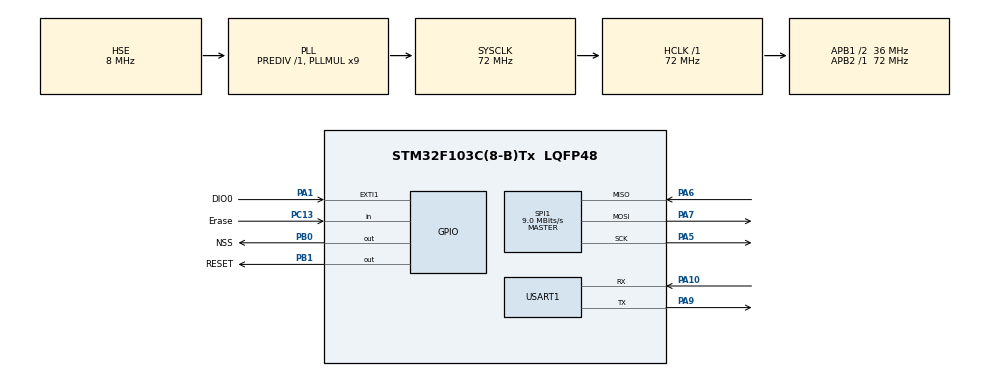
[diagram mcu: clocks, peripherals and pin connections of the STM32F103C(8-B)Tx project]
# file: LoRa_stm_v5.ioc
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Mcu.Family=STM32F1
Mcu.Name=STM32F103C(8-B)Tx
Mcu.Package=LQFP48
NVIC.PriorityGroup=NVIC_PRIORITYGROUP_4
PA1.GPIO_Label=DIO0
PA1.Signal=GPXTI1
PA10.Mode=Asynchronous
PA10.Signal=USART1_RX
PA13.Mode=Serial_Wire
PA13.Signal=SYS_JTMS-SWDIO
PA14.Mode=Serial_Wire
PA14.Signal=SYS_JTCK-SWCLK
PA5.Mode=Full_Duplex_Master
PA5.Signal=SPI1_SCK
PA6.Mode=Full_Duplex_Master
PA6.Signal=SPI1_MISO
PA7.Mode=Full_Duplex_Master
PA7.Signal=SPI1_MOSI
PA9.Mode=Asynchronous
PA9.Signal=USART1_TX
PB0.GPIO_Label=NSS
PB0.PinState=GPIO_PIN_SET
PB0.Signal=GPIO_Output
PB1.GPIO_Label=RESET
PB1.PinState=GPIO_PIN_SET
PB1.Signal=GPIO_Output
PC13-TAMPER-RTC.GPIO_Label=Erase
PC13-TAMPER-RTC.Signal=GPIO_Input
PD0-OSC_IN.Mode=HSE-External-Oscillator
PD0-OSC_IN.Signal=RCC_OSC_IN
PD1-OSC_OUT.Mode=HSE-External-Oscillator
PD1-OSC_OUT.Signal=RCC_OSC_OUT
ProjectManager.HeapSize=0x200
ProjectManager.StackSize=0x400
ProjectManager.TargetToolchain=STM32CubeIDE
RCC.AHBFreq_Value=72000000
RCC.APB1CLKDivider=RCC_HCLK_DIV2
RCC.APB1Freq_Value=36000000
RCC.APB1TimFreq_Value=72000000
RCC.APB2Freq_Value=72000000
RCC.APB2TimFreq_Value=72000000
RCC.HCLKFreq_Value=72000000
RCC.PLLMUL=RCC_PLL_MUL9
RCC.PLLSourceVirtual=RCC_PLLSOURCE_HSE
RCC.SYSCLKFreq_VALUE=72000000
RCC.SYSCLKSource=RCC_SYSCLKSOURCE_PLLCLK
RCC.USBFreq_Value=72000000
SPI1.BaudRatePrescaler=SPI_BAUDRATEPRESCALER_8
SPI1.CalculateBaudRate=9.0 MBits/s
SPI1.Direction=SPI_DIRECTION_2LINES
SPI1.Mode=SPI_MODE_MASTER
SPI1.VirtualType=VM_MASTER
USART1.VirtualMode=VM_ASYNC
board=custom

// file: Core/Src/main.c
/* USER CODE BEGIN Header */
/**
  ******************************************************************************
  * @file           : main.c
  * @brief          : Main program body (clean RX model)
  ******************************************************************************
  * @attention
  *
  * Copyright (c) 2026 STMicroelectronics.
  * All rights reserved.
  *
  ******************************************************************************
  */
/* USER CODE END Header */
#include "main.h"
#include "spi.h"
#include "usart.h"
#include "gpio.h"

/* USER CODE BEGIN Includes */
#include <string.h>
#include <stdio.h>
#include "LoRa.h"
#include <stdint.h>
#include <ctype.h>
#include <stdlib.h>
#include "stm32f1xx.h"
#include "stm32f1xx_hal_flash.h"
#include "stm32f1xx_hal_flash_ex.h"
/* USER CODE END Includes */

/* USER CODE BEGIN PTD */
#define FLASH_STORAGE_START  0x0800FC00  // Last 1KB of flash
#define FLASH_MAGIC_NUMBER   0x55AA1234

typedef struct {
    uint32_t magic;          // Validation magic number
    uint32_t counter;        // Persistent counter (we store node id here)
    uint32_t device_id;      // Persistent device ID
    uint32_t checksum;       // Simple checksum
} stored_data_t;
/* USER CODE END PTD */

/* USER CODE BEGIN PV */
LoRa myLoRa;
uint16_t LoRa_status;
uint32_t uid[3];
uint8_t Master = 1;
int nodeId = 0;
float dp = 1;
float t_in = 2;
float t_out = 3;
float p_header = 4;
float pm = 5;
uint8_t cleaning = 0;
/* USER CODE END PV */

void SystemClock_Config(void);
/* USER CODE BEGIN PFP */
void flash_erase_node_page(void);
uint8_t flash_read_node_id(void);
void flash_save_node_id(uint8_t node_id);
uint32_t calculate_checksum(uint32_t counter, uint32_t device_id);
char* trim_whitespace(char* str);
void printu(const char *msg);
void print_reset_reason(void);
void STM32_GetUID(uint32_t uid[3]);
void req_Registration(void);
uint8_t wait_for_ack(uint16_t timeout_ms);
uint8_t LoRa_Transmit(uint8_t dst, uint8_t src, const char *payload);
void flush_rx(void);
void print_hex(const uint8_t *data, uint8_t len);
uint8_t is_printable_string(const uint8_t *data, uint8_t len);
void LoRa_StartPollingnode(void);
void handle_req_data(uint8_t src_id);
void flash_clear_storage(void);
void check_clear_button(void);
uint8_t parse_REQ_DATA(const char *rx, uint8_t *dst, uint8_t *src);
/* USER CODE END PFP */

int main(void)
{

  /* MCU Configuration--------------------------------------------------------*/
  HAL_Init();

  /* USER CODE BEGIN Init */
  MX_GPIO_Init();
  MX_SPI1_Init();
  MX_USART1_UART_Init();
  /* USER CODE END Init */

  SystemClock_Config();

  MX_GPIO_Init();
  MX_SPI1_Init();
  MX_USART1_UART_Init();

  /* USER CODE BEGIN 2 */

	/* ---------- SX127x RESET ---------- */
	HAL_GPIO_WritePin(RESET_GPIO_Port, RESET_Pin, GPIO_PIN_RESET);
	HAL_Delay(10);
	HAL_GPIO_WritePin(RESET_GPIO_Port, RESET_Pin, GPIO_PIN_SET);
	HAL_Delay(10);

	/* ---------- NSS HIGH (IDLE) ---------- */
	HAL_GPIO_WritePin(NSS_GPIO_Port, NSS_Pin, GPIO_PIN_SET);

	/* ---------- INIT LoRa STRUCT ---------- */
	myLoRa = newLoRa();
	myLoRa.CS_port    = NSS_GPIO_Port;
	myLoRa.CS_pin     = NSS_Pin;
	myLoRa.reset_port = RESET_GPIO_Port;
	myLoRa.reset_pin  = RESET_Pin;
	myLoRa.DIO0_port  = DIO0_GPIO_Port;
	myLoRa.DIO0_pin   = DIO0_Pin;
	myLoRa.hSPIx      = &hspi1;

	LoRa_status = LoRa_init(&myLoRa);
	LoRa_setSyncWord(&myLoRa, 0x34);

	if (LoRa_status != LORA_OK)
	{
	  char err[64];
	  sprintf(err, "LoRa INIT FAILED (%d)\r\n", LoRa_status);
	  printu(err);
	  while (1)
	  {
		  check_clear_button();
	  }
	}

	/* ---------- SAFE FIFO SETUP ---------- */
	LoRa_write(&myLoRa, RegFiFoRxBaseAddr, 0x00);
	LoRa_write(&myLoRa, RegFiFoTxBaseAddr, 0x80);

	/* ---------- START RX (single start) ---------- */
	LoRa_enableCRC(&myLoRa, 1);
	LoRa_startReceiving(&myLoRa);

	printu("✅ LoRa initialized, RX started\r\n");

	STM32_GetUID(uid);

	uint8_t saved_node_id = flash_read_node_id();
	if (saved_node_id != 0xFF) {  // 0xFF means invalid/uninitialized
	    nodeId = saved_node_id;
	    char msg[64];
	    sprintf(msg, "Restored Node ID from flash: %02d\r\n", nodeId);
	    printu(msg);
	} else {
	    printu("No valid Node ID in flash\r\n");
	}

  /* USER CODE END 2 */

  /* Infinite loop */
  while (1)
  {
	  check_clear_button();

	  if(nodeId>0)
	  {
		  LoRa_StartPollingnode();
	  }
	  else
	  {
		  req_Registration();
	  }
  }
}

void SystemClock_Config(void)
{
  RCC_OscInitTypeDef RCC_OscInitStruct = {0};
  RCC_ClkInitTypeDef RCC_ClkInitStruct = {0};

  /** Initializes the RCC Oscillators according to the specified parameters
  * in the RCC_OscInitTypeDef structure.
  */
  RCC_OscInitStruct.OscillatorType = RCC_OSCILLATORTYPE_HSE;
  RCC_OscInitStruct.HSEState = RCC_HSE_ON;
  RCC_OscInitStruct.HSEPredivValue = RCC_HSE_PREDIV_DIV1;
  RCC_OscInitStruct.HSIState = RCC_HSI_ON;
  RCC_OscInitStruct.PLL.PLLState = RCC_PLL_ON;
  RCC_OscInitStruct.PLL.PLLSource = RCC_PLLSOURCE_HSE;
  RCC_OscInitStruct.PLL.PLLMUL = RCC_PLL_MUL9;
  if (HAL_RCC_OscConfig(&RCC_OscInitStruct) != HAL_OK)
  {
    Error_Handler();
  }

  /** Initializes the CPU, AHB and APB buses clocks
  */
  RCC_ClkInitStruct.ClockType = RCC_CLOCKTYPE_HCLK|RCC_CLOCKTYPE_SYSCLK
                              |RCC_CLOCKTYPE_PCLK1|RCC_CLOCKTYPE_PCLK2;
  RCC_ClkInitStruct.SYSCLKSource = RCC_SYSCLKSOURCE_PLLCLK;
  RCC_ClkInitStruct.AHBCLKDivider = RCC_SYSCLK_DIV1;
  RCC_ClkInitStruct.APB1CLKDivider = RCC_HCLK_DIV2;
  RCC_ClkInitStruct.APB2CLKDivider = RCC_HCLK_DIV1;

  if (HAL_RCC_ClockConfig(&RCC_ClkInitStruct, FLASH_LATENCY_2) != HAL_OK)
  {
    Error_Handler();
  }
}

/* USER CODE BEGIN 4 */

// Helper function to trim whitespace
char* trim_whitespace(char* str) {
    char* end;
    while(isspace((unsigned char)*str)) str++;
    if(*str == 0) return str;
    end = str + strlen(str) - 1;
    while(end > str && isspace((unsigned char)*end)) end--;
    *(end + 1) = 0;
    return str;
}

void printu(const char *msg)
{
  HAL_UART_Transmit(&huart1, (uint8_t*)msg, strlen(msg), 200);
}

// Print data in hex format
void print_hex(const uint8_t *data, uint8_t len)
{
  char hex[6];
  for(uint8_t i = 0; i < len; i++) {
    sprintf(hex, "%02X ", data[i]);
    printu(hex);
  }
}

// Check if data looks like a printable string
uint8_t is_printable_string(const uint8_t *data, uint8_t len)
{
  uint8_t printable_count = 0;
  for(uint8_t i = 0; i < len; i++) {
    if(data[i] >= 32 && data[i] <= 126) {
      printable_count++;
    }
  }
  return (len > 0) ? ((printable_count * 100 / len) > 80) : 0;
}

void STM32_GetUID(uint32_t uid_out[3])
{
    uid_out[0] = *(uint32_t*)0x1FFFF7E8;
    uid_out[1] = *(uint32_t*)0x1FFFF7EC;
    uid_out[2] = *(uint32_t*)0x1FFFF7F0;
}

void print_reset_reason(void)
{
    uint32_t flags = RCC->CSR;
    if(flags & RCC_CSR_LPWRRSTF) {
        printu("Reset Reason: Low Power (Brown-out)\r\n");
    } else if(flags & RCC_CSR_WWDGRSTF) {
        printu("Reset Reason: Window Watchdog\r\n");
    } else if(flags & RCC_CSR_IWDGRSTF) {
        printu("Reset Reason: Independent Watchdog\r\n");
    } else if(flags & RCC_CSR_SFTRSTF) {
        printu("Reset Reason: Software Reset\r\n");
    } else if(flags & RCC_CSR_PORRSTF) {
        printu("Reset Reason: Power-on Reset\r\n");
    } else if(flags & RCC_CSR_PINRSTF) {
        printu("Reset Reason: External Pin Reset\r\n");
    } else {
        printu("Reset Reason: Unknown\r\n");
    }
    RCC->CSR |= RCC_CSR_RMVF;
}

/* ---------------- Registration (safe: standby -> CAD -> TX -> restart RX) -------------- */
void req_Registration(void)
{
	char reg_payload[80];

	// Go to standby before CAD/TX to avoid overlapping RX operation
	LoRa_gotoMode(&myLoRa, STNBY_MODE);
	HAL_Delay(2);

	// Optional CAD (short quick check) - safe because we moved to standby
	uint8_t cadResult = LoRa_performCAD(&myLoRa, 100);
	if(cadResult == 0)
	{
		snprintf(reg_payload, sizeof(reg_payload),
			 "%02d | %08lX-%08lX-%08lX | REQ_ADDRESS",
			  nodeId, uid[0], uid[1], uid[2]);

		// Transmit from standby
		LoRa_transmit(&myLoRa, (uint8_t *)reg_payload, strlen(reg_payload), 300);

		printu("sent registration request\r\n");

		// After waiting, ensure we resume receiving
		LoRa_startReceiving(&myLoRa);

		// Now wait for ACK using RX-only model
		uint8_t ack = wait_for_ack(5000);

		if (ack != 0xFF) {
			// nodeId set and saved inside wait_for_ack
			return;
		}
	}
	else
	{
		printu("skipped registration, channel busy\r\n");
		// return to RX mode
		LoRa_startReceiving(&myLoRa);
	}
}

/* ---------------- Wait for ACK (RX-only loop; no IRQs) ---------------- */
uint8_t wait_for_ack(uint16_t timeout_ms)
{
    printu("waiting for ack... \r\n");
    uint8_t rxBuf[128];
    uint32_t start = HAL_GetTick();

    while ((HAL_GetTick() - start) < timeout_ms)
    {
        uint8_t len = LoRa_receive(&myLoRa, rxBuf, sizeof(rxBuf) - 1);
        if (len > 0)
        {
            rxBuf[len] = '\0';
            printu("📥 ACK RX: ");
            printu((char*)rxBuf);
            printu("\r\n");

            uint32_t r_uid0 = 0, r_uid1 = 0, r_uid2 = 0;
            unsigned int assignedId = 0;
            char cmd[32] = {0};

            // Expected format: 1A5A5BB5-00000000-01F355C8 | 05 | ACK_ADDRESS
            int parsed = sscanf((char*)rxBuf,
                                "%8lX-%8lX-%8lX | %u | %31s",
                                &r_uid0, &r_uid1, &r_uid2,
                                &assignedId, cmd);

            if (parsed >= 5) {
                // Print debug
                char dbg[128];
                sprintf(dbg, "Parsed ACK: %08lX-%08lX-%08lX id=%02u cmd=%s\r\n",
                        r_uid0, r_uid1, r_uid2, assignedId, cmd);
                printu(dbg);

                if (strcmp(cmd, "ACK_ADDRESS") == 0)
                {
                    if (r_uid0 == uid[0] && r_uid1 == uid[1] && r_uid2 == uid[2])
                    {
                        nodeId = (int)assignedId;
                        char b[32];
                        sprintf(b, "Node ID assigned: %02d\r\n", nodeId);
                        printu(b);

                        // Send confirmation back - safe transmit
                        LoRa_Transmit(Master, nodeId, "ACK_ADDRESS");

                        if (nodeId > 0) {
                            flash_save_node_id(nodeId);
                            printu("Node ID saved to flash\r\n");
                        }

                        return (uint8_t)nodeId;
                    } else {
                        printu("UID mismatch in ACK\r\n");
                    }
                } else {
                    printu("Received non-ACK command in ACK wait\r\n");
                }
            } else {
                printu("ACK parse failed\r\n");
            }
        }
        HAL_Delay(2);
    }

    printu("Timeout waiting for ACK\r\n");
    return 0xFF;
}

/* -------------- Transmit wrapper: go to standby -> transmit -> resume RX ------------- */
uint8_t LoRa_Transmit(uint8_t dst, uint8_t src, const char *payload)
{
    char txBuf[128];

    // format: dst | src | payload (simple human-readable)
    snprintf(txBuf, sizeof(txBuf), "%02d | %02d | %s", dst, src, payload);

    printu("TX -> ");
    printu(txBuf);
    printu("\r\n");

    // Ensure radio in standby before TX
    LoRa_gotoMode(&myLoRa, STNBY_MODE);
    HAL_Delay(2);

    uint16_t tx = LoRa_transmit(&myLoRa, (uint8_t *)txBuf, strlen(txBuf), 2000);

    // After TX, resume RX
    LoRa_startReceiving(&myLoRa);

    return (tx == 1) ? 1 : 0;
}

/* NEW: Main polling function (RX-only model) */
void LoRa_StartPollingnode(void)
{
    static uint8_t rxBuf[128];
    uint8_t len;
    uint8_t dst, src;

    if (nodeId == 0)
        return;

    len = LoRa_receive(&myLoRa, rxBuf, sizeof(rxBuf) - 1);

    if (len > 0)
    {
        rxBuf[len] = '\0';

        printu("📥 RX: ");
        printu((char*)rxBuf);
        printu("\r\n");

        if (parse_REQ_DATA((char*)rxBuf, &dst, &src))
        {
            if ((dst == nodeId || dst == 0xFF) && src == Master)
            {
                printu("✅ REQ_DATA valid\r\n");
                handle_req_data(src);
            }
        }

        char rssi[32];
        sprintf(rssi, "RSSI: %d dBm\r\n", LoRa_getRSSI(&myLoRa));
        printu(rssi);
    }

    HAL_Delay(2);
}

/* NEW: Respond to REQ_DATA safely (standby -> tx -> resume RX) */
void handle_req_data(uint8_t src_id)
{
    char sensor_data[80];

    snprintf(sensor_data, sizeof(sensor_data),
             "%.1f,%.1f,%.1f,%.1f,%.1f,%d",
             dp, t_in, t_out, p_header, pm, cleaning ? 1 : 0);

    printu("TX -> ");
    printu(sensor_data);
    printu("\r\n");

    // Use wrapper to ensure safe mode switching & resume RX
    LoRa_Transmit(src_id, nodeId, sensor_data);
}

void flush_rx()
{
    uint8_t tmp[128];
    while (LoRa_receive(&myLoRa, tmp, sizeof(tmp)) > 0) {
        HAL_Delay(2);
    }
}

/* ==================== FLASH STORAGE FOR NODE ID ==================== */

void flash_erase_node_page(void) {
    HAL_FLASH_Unlock();

    FLASH_EraseInitTypeDef erase = {0};
    erase.TypeErase = FLASH_TYPEERASE_PAGES;
    erase.PageAddress = FLASH_STORAGE_START;
    erase.NbPages = 1;  // 1KB page for F103

    uint32_t page_error = 0;
    HAL_FLASHEx_Erase(&erase, &page_error);

    HAL_FLASH_Lock();
}

uint8_t flash_read_node_id(void) {
    stored_data_t* data = (stored_data_t*)FLASH_STORAGE_START;

    if (data->magic == FLASH_MAGIC_NUMBER &&
        data->checksum == calculate_checksum(data->counter, data->device_id)) {

        if (data->counter <= 99 && data->counter != 0) {
            return (uint8_t)data->counter;
        }
    }

    return 0xFF;  // Invalid or no data
}

void flash_save_node_id(uint8_t node_id) {
    stored_data_t data;

    uint32_t device_id = (uid[0] ^ uid[1] ^ uid[2]) & 0x00FFFFFF;

    data.magic = FLASH_MAGIC_NUMBER;
    data.counter = node_id;           // Store node ID in counter field
    data.device_id = device_id;       // Store device ID
    data.checksum = calculate_checksum(data.counter, data.device_id);

    flash_erase_node_page();

    HAL_FLASH_Unlock();

    uint8_t* data_ptr = (uint8_t*)&data;
    for (uint32_t i = 0; i < sizeof(data); i += 4) {
        HAL_FLASH_Program(FLASH_TYPEPROGRAM_WORD,
                         FLASH_STORAGE_START + i,
                         *(uint32_t*)(data_ptr + i));
    }

    HAL_FLASH_Lock();

    uint8_t verify_id = flash_read_node_id();
    if (verify_id != node_id) {
        printu("Flash write verification failed!\r\n");
    } else {
        char msg[35];
        snprintf(msg, sizeof(msg),"Node ID %02d saved successfully\r\n", node_id);
        printu(msg);
    }
}

uint32_t calculate_checksum(uint32_t counter, uint32_t device_id) {
    return counter ^ device_id ^ 0xDEADBEEF;
}

void flash_clear_storage(void) {
    printu("\r\n=== CLEARING FLASH STORAGE ===\r\n");

    flash_erase_node_page();

    nodeId = 0;

    printu("✓ Flash storage cleared\r\n");
    printu("✓ Node ID reset to 00\r\n");
    printu("=== Device will restart registration ===\r\n\r\n");

    for(int i = 0; i < 5; i++) {
        HAL_GPIO_TogglePin(GPIOD, GPIO_PIN_2);  // adjust LED pin if needed
        HAL_Delay(200);
    }
}

void check_clear_button(void) {
    static uint32_t press_start_time = 0;
    static uint8_t is_clearing = 0;

    if (HAL_GPIO_ReadPin(Erase_GPIO_Port, Erase_Pin) == GPIO_PIN_RESET) {
        if (press_start_time == 0) {
            press_start_time = HAL_GetTick();
            printu("[Button pressed - hold for 3s to clear]\r\n");
        }
        else if (!is_clearing && (HAL_GetTick() - press_start_time) > 3000) {
            is_clearing = 1;
            flash_clear_storage();
            while (HAL_GPIO_ReadPin(Erase_GPIO_Port, Erase_Pin) == GPIO_PIN_RESET) {
                HAL_Delay(10);
            }
            is_clearing = 0;
        }
    }
    else {
        if (press_start_time != 0 && !is_clearing) {
            uint32_t press_duration = HAL_GetTick() - press_start_time;
            if (press_duration < 3000) {
                char msg[50];
                sprintf(msg, "[Button released after %lums]\r\n", press_duration);
                printu(msg);
            }
        }
        press_start_time = 0;
    }
}

/* ---------- Simple REQ_DATA parser used by RX polling ---------- */
uint8_t parse_REQ_DATA(const char *rx, uint8_t *dst, uint8_t *src)
{
    if (strstr(rx, "REQ_DATA") == NULL)
        return 0;

    if (!(rx[0] >= '0' && rx[0] <= '9' &&
          rx[1] >= '0' && rx[1] <= '9'))
        return 0;

    *dst = (rx[0] - '0') * 10 + (rx[1] - '0');

    const char *p = strchr(rx, '|');
    if (!p) return 0;

    p++;
    while (*p == ' ') p++;

    if (!(p[0] >= '0' && p[0] <= '9' &&
          p[1] >= '0' && p[1] <= '9'))
        return 0;

    *src = (p[0] - '0') * 10 + (p[1] - '0');

    return 1;
}

/* USER CODE END 4 */

void Error_Handler(void)
{
  __disable_irq();
  while (1)
  {
  }
}
